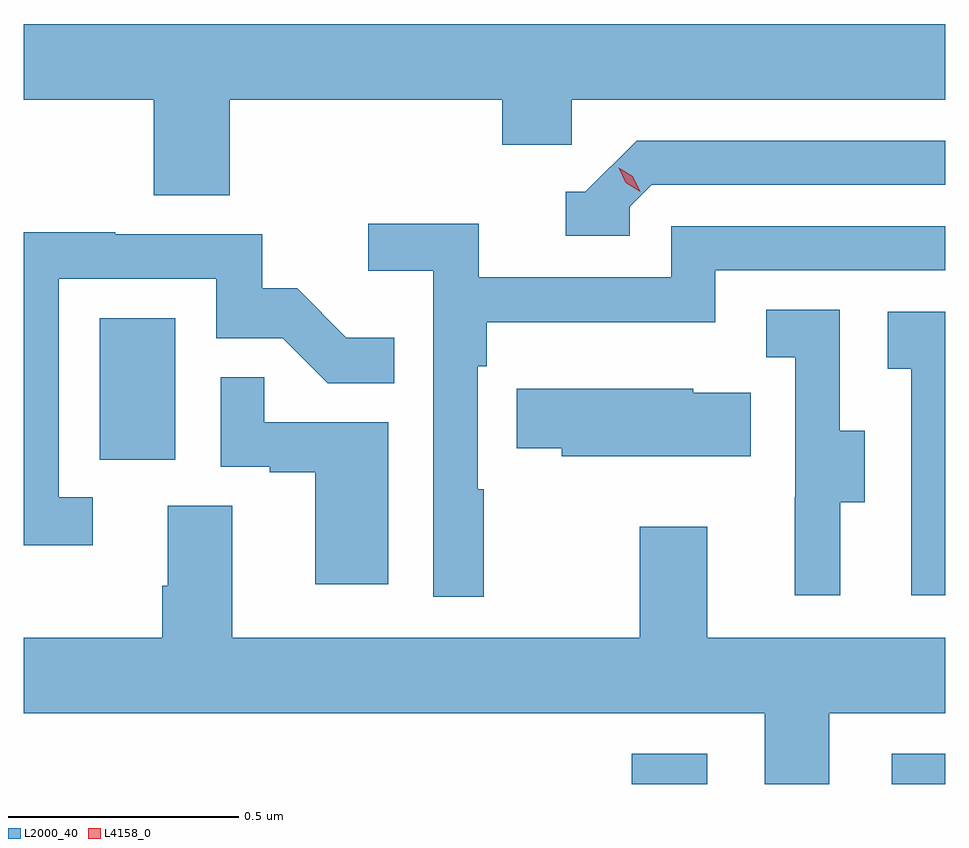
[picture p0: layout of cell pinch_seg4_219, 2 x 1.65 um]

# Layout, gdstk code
import gdstk
lib = gdstk.Library(unit=1e-6, precision=1e-09)
def R(c, l, rs):  # rectangles x0, y0, x1, y1
    for r in rs: c.add(gdstk.rectangle(r[:2], r[2:], *l))
def P(c, l, *ps):  # polygons
    for p in ps: c.add(gdstk.Polygon(p, *l))
L2000_40 = (2000, 40)
L4158_0 = (4158, 0)

pinch_seg4_219 = lib.new_cell('pinch_seg4_219')
R(pinch_seg4_219, L2000_40, [(1009.853,821.974,1010.017,822.04), (1010.417,821.974,1010.533,822.04), (1008.698,822.678,1008.862,822.985)])
P(pinch_seg4_219, L2000_40, [(1008.98,823.46),(1009.571,823.46),(1009.571,823.362),(1009.722,823.362),(1009.722,823.46),(1010.533,823.46),(1010.533,823.624),(1008.533,823.624),(1008.533,823.46),(1008.815,823.46),(1008.815,823.252),(1008.98,823.252)],
  [(1009.848,823.227),(1009.896,823.275),(1010.533,823.275),(1010.533,823.371),(1009.863,823.371),(1009.752,823.26),(1009.709,823.26),(1009.709,823.164),(1009.848,823.164)],
  [(1009.531,822.614),(1009.518,822.614),(1009.518,822.881),(1009.538,822.881),(1009.538,822.977),(1010.034,822.977),(1010.034,823.089),(1010.533,823.089),(1010.533,823.185),(1009.938,823.185),(1009.938,823.074),(1009.52,823.074),(1009.52,823.19),(1009.281,823.19),(1009.281,823.088),(1009.422,823.088),(1009.422,822.381),(1009.531,822.381)],
  [(1008.682,822.597),(1008.609,822.597),(1008.609,823.071),(1008.951,823.071),(1008.951,822.942),(1009.095,822.942),(1009.193,822.844),(1009.337,822.844),(1009.337,822.943),(1009.233,822.943),(1009.126,823.05),(1009.05,823.05),(1009.05,823.167),(1008.731,823.167),(1008.731,823.172),(1008.533,823.172),(1008.533,822.492),(1008.682,822.492)],
  [(1010.305,822.586),(1010.359,822.586),(1010.359,822.741),(1010.304,822.741),(1010.304,823.004),(1010.145,823.004),(1010.145,822.901),(1010.208,822.901),(1010.208,822.597),(1010.207,822.597),(1010.207,822.384),(1010.305,822.384)],
  [(1010.533,822.999),(1010.409,822.999),(1010.409,822.875),(1010.46,822.875),(1010.46,822.384),(1010.533,822.384)],
  [(1009.324,822.759),(1009.055,822.759),(1009.055,822.857),(1008.96,822.857),(1008.96,822.663),(1009.067,822.663),(1009.067,822.651),(1009.166,822.651),(1009.166,822.408),(1009.324,822.408)],
  [(1010.111,822.823),(1009.986,822.823),(1009.986,822.832),(1009.603,822.832),(1009.603,822.703),(1009.701,822.703),(1009.701,822.686),(1010.111,822.686)],
  [(1010.281,822.128),(1010.533,822.128),(1010.533,822.292),(1010.017,822.292),(1010.017,822.532),(1009.87,822.532),(1009.87,822.292),(1008.985,822.292),(1008.985,822.578),(1008.845,822.578),(1008.845,822.404),(1008.833,822.404),(1008.833,822.292),(1008.533,822.292),(1008.533,822.128),(1010.141,822.128),(1010.141,821.974),(1010.281,821.974)])
P(pinch_seg4_219, L4158_0, [(1009.871,823.26),(1009.84,823.279),(1009.824,823.312),(1009.824,823.312),(1009.824,823.312),(1009.855,823.293),(1009.871,823.26),(1009.871,823.26)])

lib.write_gds('pinch_seg4_219.gds')
